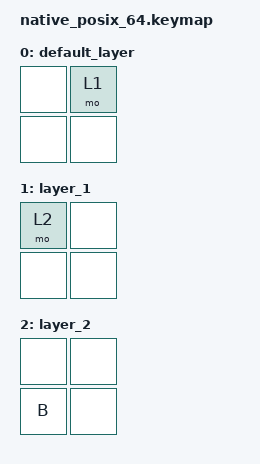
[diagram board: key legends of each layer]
#include <dt-bindings/zmk/keys.h>
#include <behaviors.dtsi>
#include <dt-bindings/zmk/kscan_mock.h>

/ {
    keymap {
        compatible = "zmk,keymap";
        label ="Default keymap";

        default_layer {
            bindings = <
                &none &mo 1
                &none &none>;
        };

        layer_1 {
            bindings = <
                &mo 2 &none
                &none &none>;
        };

        layer_2 {
            bindings = <
                &none &none
                &kp B &none>;
        };
    };
};

&kscan {
    events = <
        ZMK_MOCK_PRESS(0,1,10)
        ZMK_MOCK_PRESS(0,0,10)
        ZMK_MOCK_PRESS(1,0,10)
        ZMK_MOCK_RELEASE(0,1,10)
        ZMK_MOCK_RELEASE(0,0,10)
        ZMK_MOCK_RELEASE(1,0,10)
    >;
};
